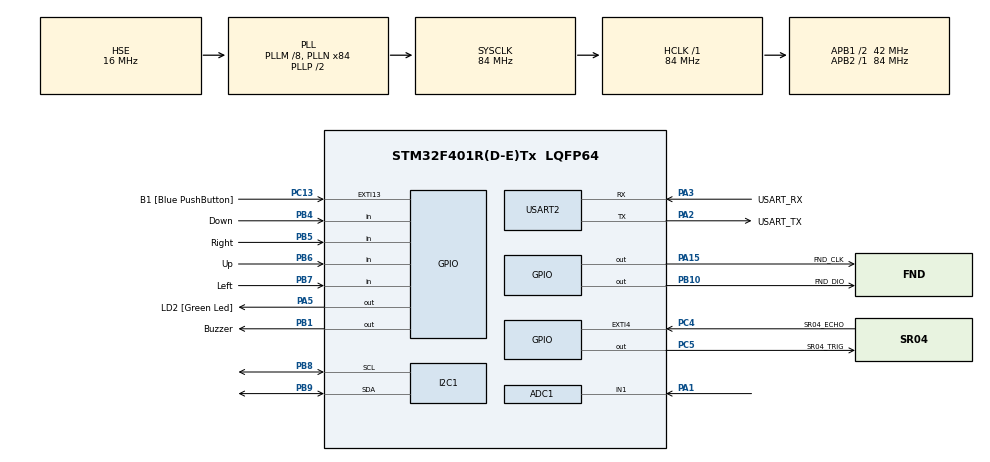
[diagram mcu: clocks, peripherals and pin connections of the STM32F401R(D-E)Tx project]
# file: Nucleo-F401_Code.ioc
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Mcu.Family=STM32F4
PA2.GPIO_PuPd=GPIO_NOPULL
RCC.CortexFreq_Value=84000000
ADC1.ContinuousConvMode=ENABLE
PA14.GPIO_Label=TCK
PA3.GPIO_PuPd=GPIO_NOPULL
PA2.GPIO_Speed=GPIO_SPEED_FREQ_LOW
PB6.GPIO_Label=Up
PA3.GPIO_Speed=GPIO_SPEED_FREQ_LOW
RCC.SYSCLKSource=RCC_SYSCLKSOURCE_PLLCLK
ProjectManager.StackSize=0x400
PA15.GPIO_Label=FND_CLK
TIM1.Prescaler=84-1
PH0\ -\ OSC_IN.Signal=RCC_OSC_IN
RCC.HCLKFreq_Value=84000000
RCC.APB2TimFreq_Value=84000000
PB6.Signal=GPIO_Input
Dma.ADC1.0.Direction=DMA_PERIPH_TO_MEMORY
NVIC.DMA2_Stream0_IRQn=true\:0\:0\:false\:false\:true\:false\:true
Dma.ADC1.0.MemDataAlignment=DMA_MDATAALIGN_HALFWORD
RCC.AHBFreq_Value=84000000
ADC1.Channel-0\#ChannelRegularConversion=ADC_CHANNEL_1
RCC.HSE_VALUE=16000000
PC13-ANTI_TAMP.Signal=GPXTI13
PC14-OSC32_IN.Mode=LSE-External-Oscillator
PC4.GPIO_Label=SR04_ECHO
PA14.Mode=Serial_Wire
PA5.GPIO_PuPd=GPIO_NOPULL
PB1.GPIO_Label=Buzzer
Dma.ADC1.0.PeriphInc=DMA_PINC_DISABLE
PB7.Signal=GPIO_Input
VP_TIM1_VS_ClockSourceINT.Mode=Internal
ADC1.SamplingTime-0\#ChannelRegularConversion=ADC_SAMPLETIME_84CYCLES
PB7.GPIO_Label=Left
PB9.Signal=I2C1_SDA
Mcu.Package=LQFP64
PB1.Signal=GPIO_Output
USART2.VirtualMode=VM_ASYNC
PA2.GPIO_Label=USART_TX
PA15.Signal=GPIO_Output
SH.ADCx_IN1.0=ADC1_IN1,IN1
PB5.GPIO_Label=Right
RCC.APB1TimFreq_Value=84000000
Dma.ADC1.0.FIFOMode=DMA_FIFOMODE_DISABLE
PC5.Signal=GPIO_Output
Dma.Request0=ADC1
PB4.Signal=GPIO_Input
PA3.Signal=USART2_RX
PA2.GPIO_Mode=GPIO_MODE_AF_PP
PB3.GPIO_Label=SWO
RCC.PLLSourceVirtual=RCC_PLLSOURCE_HSE
PC15-OSC32_OUT.Mode=LSE-External-Oscillator
NVIC.EXTI4_IRQn=true\:0\:0\:false\:false\:true\:true\:true
Dma.ADC1.0.Instance=DMA2_Stream0
ADC1.Rank-0\#ChannelRegularConversion=1
PC13-ANTI_TAMP.GPIO_PuPd=GPIO_NOPULL
PC13-ANTI_TAMP.GPIO_Label=B1 [Blue PushButton]
PC4.GPIO_PuPd=GPIO_PULLDOWN
PH1\ -\ OSC_OUT.Mode=HSE-External-Oscillator
PC4.Signal=GPXTI4
RCC.APB1CLKDivider=RCC_HCLK_DIV2
PC14-OSC32_IN.Signal=RCC_OSC32_IN
PA13.Signal=SYS_JTMS-SWDIO
PA3.Mode=Asynchronous
Dma.ADC1.0.PeriphDataAlignment=DMA_PDATAALIGN_HALFWORD
PH0\ -\ OSC_IN.Mode=HSE-External-Oscillator
ProjectManager.TargetToolchain=STM32CubeIDE
PB10.GPIO_Label=FND_DIO
Dma.ADC1.0.Mode=DMA_CIRCULAR
PA3.GPIO_Mode=GPIO_MODE_AF_PP
Dma.ADC1.0.Priority=DMA_PRIORITY_LOW
PB9.Mode=I2C
PC15-OSC32_OUT.Signal=RCC_OSC32_OUT
PA1.Signal=ADCx_IN1
PB10.Signal=GPIO_Output
PA5.Signal=GPIO_Output
PH1\ -\ OSC_OUT.Signal=RCC_OSC_OUT
board=NUCLEO-F401RE
RCC.VCOOutputFreq_Value=168000000
RCC.APB2Freq_Value=84000000
PB4.GPIO_Label=Down
ADC1.DMAContinuousRequests=ENABLE
PA13.Mode=Serial_Wire
Mcu.Name=STM32F401R(D-E)Tx
PA2.Signal=USART2_TX
PA13.GPIO_Label=TMS
RCC.48MHZClocksFreq_Value=24000000
PB3.Signal=SYS_JTDO-SWO
RCC.SYSCLKFreq_VALUE=84000000
PB5.Signal=GPIO_Input
ADC1.master=1
PA5.GPIO_Label=LD2 [Green Led]
PC5.GPIO_Label=SR04_TRIG
PC13-ANTI_TAMP.GPIO_ModeDefaultEXTI=GPIO_MODE_IT_FALLING
PA14.Signal=SYS_JTCK-SWCLK
Dma.ADC1.0.MemInc=DMA_MINC_ENABLE
ProjectManager.HeapSize=0x200
NVIC.TIM1_UP_TIM10_IRQn=true\:0\:0\:false\:false\:true\:true\:true
RCC.HSI_VALUE=16000000
PA5.GPIO_Speed=GPIO_SPEED_FREQ_LOW
RCC.PLLQ=7
NVIC.PriorityGroup=NVIC_PRIORITYGROUP_1
ADC1.NbrOfConversionFlag=1
RCC.PLLM=8
PB8.Mode=I2C
RCC.PLLN=84
PA2.Mode=Asynchronous
PB8.Signal=I2C1_SCL
RCC.APB1Freq_Value=42000000
PA5.GPIO_Mode=GPIO_MODE_OUTPUT_PP
PA3.GPIO_Label=USART_RX

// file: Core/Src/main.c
/* USER CODE BEGIN Header */
/**
  ******************************************************************************
  * @file           : main.c
  * @brief          : Main program body
  ******************************************************************************
  * @attention
  *
  * <h2><center>&copy; Copyright (c) 2020 STMicroelectronics.
  * All rights reserved.</center></h2>
  *
  * This software component is licensed by ST under BSD 3-Clause license,
  * the "License"; You may not use this file except in compliance with the
  * License. You may obtain a copy of the License at:
  *                        opensource.org/licenses/BSD-3-Clause
  *
  ******************************************************************************
  */
/* USER CODE END Header */
#include "main.h"
#include "adc.h"
#include "dma.h"
#include "i2c.h"
#include "tim.h"
#include "usart.h"
#include "gpio.h"

/* USER CODE BEGIN Includes */
#include "stdio.h"
#include "I2C_LCD1602.h"
#include "Zeus_define.h"
#include "u8g_arm.h"
#include "SR04.h"
#include "TM1637.h"

/* USER CODE END Includes */

/* USER CODE BEGIN PV */

static u8g_t u8g;
uint8_t Hour=0, Minute=0, Second=0;

/* USER CODE END PV */

void SystemClock_Config(void);
/* USER CODE BEGIN PFP */

void u8g_xyputs( uint8_t x, uint8_t y, char *str, uint8_t battery_status);
void Time_count()
{
	Second++;
	if( Second > 59 )	{
	  Minute ++;		Second = 0;
	}
	if (Minute > 59 ) 	{
	  Hour++;			 Minute =0;
	}
	if( Hour > 11) Hour = 0;
}

/* USER CODE END PFP */

int main(void)
{
  /* USER CODE BEGIN 1 */
	uint16_t Adc_Value[2];
	char str[16];

  /* USER CODE END 1 */

  /* MCU Configuration--------------------------------------------------------*/

  /* Reset of all peripherals, Initializes the Flash interface and the Systick. */
  HAL_Init();

  /* Configure the system clock */
  SystemClock_Config();

  /* Initialize all configured peripherals */
  MX_GPIO_Init();
  MX_DMA_Init();
  MX_USART2_UART_Init();
  MX_ADC1_Init();
  MX_I2C1_Init();
  MX_TIM1_Init();
  /* USER CODE BEGIN 2 */

  printf("Start Init\r\n");

  HAL_ADC_Start_DMA(&hadc1, (uint32_t *)Adc_Value, 1);
  HAL_TIM_Base_Start_IT(&htim1);

  u8g_InitComFn(&u8g,&u8g_dev_ssd1306_128x64_i2c,u8g_com_hw_i2c_fn);

  I2C_LCD1602_Init();

  I2C_LCD1602_Send_String_XY( 0 , 0, "Welcom Zeus");
  I2C_LCD1602_Send_String_XY( 0 , 1, "I2C PCF8574");
  HAL_Delay(2000);
  I2C_LCD1602_Clear();

  sprintf( str, "start");
  I2C_LCD1602_Send_string(str);

  Buzzer_OnOff(1);

  TM1637_bright(1);

  /* USER CODE END 2 */

  /* Infinite loop */
  /* USER CODE BEGIN WHILE */
  Buzzer_OnOff(1);

  uint8_t brightness = 1,prev_brightness = 1;
  uint16_t count = 0;

  float distance=0,sr04_value[5];

  while (1)
  {
    /* USER CODE END WHILE */

    /* USER CODE BEGIN 3 */

	  distance = get_SR04_value(3, &sr04_value[0]);
	  sprintf(str, "%4d : %4d ",(int)distance, Adc_Value[0] );

	  brightness = (int)( Adc_Value[0]/512);
	  if( prev_brightness != brightness ) {
		  TM1637_bright( brightness );
		  prev_brightness = brightness;
	  }

	  printf("%4d  %4d\r\n",(int)distance, brightness );
	  TM1637_Display_4digit( brightness, (int)distance); HAL_Delay(1000);

	  u8g_xyputs( 10, 55, str,count++);
  	  Time_count();
  	  if( count >100 ) count = 0;

	  u8g_xyputs( 10, 55, &str[0] ,count++);

	  //AvgAdc = Average_ADC(200, 10,Adc_Value);

	  //sprintf( str, "ADC : %4d", AvgAdc );
	  //I2C_LCD1602_Send_String_XY( 0 , 0, str);

	  //HAL_Delay(500);

	  switch( Key_input() ) {
	  case KEY_UP:
		  I2C_LCD1602_Send_String_XY( 0 , 1, "UP    pressed");
		  break;

	  case KEY_DOWN:
		  I2C_LCD1602_Send_String_XY( 0 , 1, "DOWN  pressed");
		  break;

	  case KEY_RIGHT:
		  I2C_LCD1602_Send_String_XY( 0 , 1, "RIGHT pressed");
		  break;

	  case KEY_LEFT:
		  I2C_LCD1602_Send_String_XY( 0 , 1, "LEFT  pressed");
		  break;

	  default:
		  break;
	  }
  }
  /* USER CODE END 3 */
}

void SystemClock_Config(void)
{
  RCC_OscInitTypeDef RCC_OscInitStruct = {0};
  RCC_ClkInitTypeDef RCC_ClkInitStruct = {0};

  /** Configure the main internal regulator output voltage
  */
  __HAL_RCC_PWR_CLK_ENABLE();
  __HAL_PWR_VOLTAGESCALING_CONFIG(PWR_REGULATOR_VOLTAGE_SCALE2);
  /** Initializes the RCC Oscillators according to the specified parameters
  * in the RCC_OscInitTypeDef structure.
  */
  RCC_OscInitStruct.OscillatorType = RCC_OSCILLATORTYPE_HSE;
  RCC_OscInitStruct.HSEState = RCC_HSE_ON;
  RCC_OscInitStruct.PLL.PLLState = RCC_PLL_ON;
  RCC_OscInitStruct.PLL.PLLSource = RCC_PLLSOURCE_HSE;
  RCC_OscInitStruct.PLL.PLLM = 8;
  RCC_OscInitStruct.PLL.PLLN = 84;
  RCC_OscInitStruct.PLL.PLLP = RCC_PLLP_DIV2;
  RCC_OscInitStruct.PLL.PLLQ = 7;
  if (HAL_RCC_OscConfig(&RCC_OscInitStruct) != HAL_OK)
  {
    Error_Handler();
  }
  /** Initializes the CPU, AHB and APB buses clocks
  */
  RCC_ClkInitStruct.ClockType = RCC_CLOCKTYPE_HCLK|RCC_CLOCKTYPE_SYSCLK
                              |RCC_CLOCKTYPE_PCLK1|RCC_CLOCKTYPE_PCLK2;
  RCC_ClkInitStruct.SYSCLKSource = RCC_SYSCLKSOURCE_PLLCLK;
  RCC_ClkInitStruct.AHBCLKDivider = RCC_SYSCLK_DIV1;
  RCC_ClkInitStruct.APB1CLKDivider = RCC_HCLK_DIV2;
  RCC_ClkInitStruct.APB2CLKDivider = RCC_HCLK_DIV1;

  if (HAL_RCC_ClockConfig(&RCC_ClkInitStruct, FLASH_LATENCY_2) != HAL_OK)
  {
    Error_Handler();
  }
}

/* USER CODE BEGIN 4 */

void u8g_battery_status(uint8_t x, uint8_t y, uint8_t percentage)
{
	char str[5];
	u8g_DrawFrame(&u8g, x, y, 18, 7); // battery����
	u8g_DrawFrame(&u8g, x+18,y+(5/2), 2,3); //battery����ǥ��
	uint8_t battery_step = 5;
	if( percentage > 90 ) 		battery_step =5;
	else if (percentage <= 10 )	battery_step =0;
	else if (percentage <= 20 )	battery_step =1;
	else if (percentage <= 40 )	battery_step =2;
	else if (percentage <= 60 )	battery_step =3;
	else if (percentage <= 80 )	battery_step =4;

	switch( battery_step )
	{
	case 1:
		u8g_draw_box(&u8g,x+2,y+1,2,5);
		break;
	case 2:
		u8g_draw_box(&u8g,x+2,y+1,2,5);
		u8g_draw_box(&u8g,x+5,y+1,2,5);
		break;
	case 3:
		u8g_draw_box(&u8g,x+2,y+1,2,5);
		u8g_draw_box(&u8g,x+5,y+1,2,5);
		u8g_draw_box(&u8g,x+8,y+1,2,5);
		break;
	case 4:
		u8g_draw_box(&u8g,x+2,y+1,2,5);
		u8g_draw_box(&u8g,x+5,y+1,2,5);
		u8g_draw_box(&u8g,x+8,y+1,2,5);
		u8g_draw_box(&u8g,x+11,y+1,2,5);
		break;
	case 5:
		u8g_draw_box(&u8g,x+2,y+1,2,5);
		u8g_draw_box(&u8g,x+5,y+1,2,5);
		u8g_draw_box(&u8g,x+8,y+1,2,5);
		u8g_draw_box(&u8g,x+11,y+1,2,5);
		u8g_draw_box(&u8g,x+14,y+1,2,5);
		break;
	}
	u8g_SetFont( &u8g, u8g_font_courB08 );
	sprintf( str, "%d%%",percentage);
	u8g_DrawStr( &u8g,  x-25,  y+7, str );
}
void u8g_xyputs( uint8_t x, uint8_t y, char *str, uint8_t battery_status)
{
	char Str_HM[20],Str_Sec[10];
	sprintf( Str_HM, "%02d:%02d", Hour, Minute);
	sprintf( Str_Sec, "%02d", Second);
	u8g_FirstPage(&u8g);
	do
	{
		u8g_SetFont( &u8g, u8g_font_courB10 );
		u8g_DrawStr( &u8g,  x,  y, str );

		//u8g_DrawBitmap(&u8g,10,1,16,52,Zeus_logo);
		u8g_SetFont( &u8g, u8g_font_osb21 );
		u8g_DrawStr( &u8g, 35,40,&Str_HM[0]);

		u8g_SetFont( &u8g, u8g_font_gdb11 );
		u8g_DrawStr( &u8g, 108,38,&Str_Sec[0]);

		u8g_battery_status(100,6,battery_status);

		u8g_DrawFrame(&u8g,2,2,126,62);
		u8g_DrawFrame(&u8g,1,1,127,63);
	} while( u8g_NextPage(&u8g));
}

/* USER CODE END 4 */

void Error_Handler(void)
{
}

/************************ (C) COPYRIGHT STMicroelectronics *****END OF FILE****/
